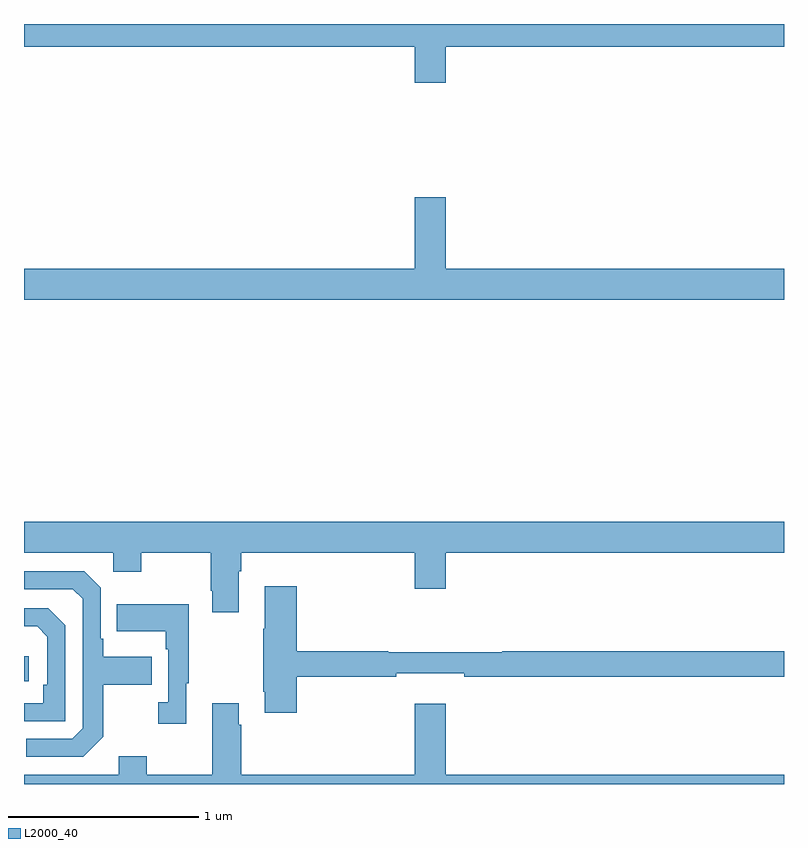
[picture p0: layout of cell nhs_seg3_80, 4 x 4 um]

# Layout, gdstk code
import gdstk
lib = gdstk.Library(unit=1e-6, precision=1e-09)
def R(c, l, rs):  # rectangles x0, y0, x1, y1
    for r in rs: c.add(gdstk.rectangle(r[:2], r[2:], *l))
def P(c, l, *ps):  # polygons
    for p in ps: c.add(gdstk.Polygon(p, *l))
L2000_40 = (2000, 40)

nhs_seg3_80 = lib.new_cell('nhs_seg3_80')
R(nhs_seg3_80, L2000_40, [(115,666.942,115.024,667.072)])
P(nhs_seg3_80, L2000_40, [(117.22,670.28),(119,670.28),(119,670.4),(115,670.4),(115,670.28),(117.056,670.28),(117.056,670.092),(117.22,670.092)],
  [(119,669.112),(117.22,669.112),(117.22,669.487),(117.056,669.487),(117.056,669.112),(115,669.112),(115,668.948),(119,668.948)],
  [(116.131,667.52),(116.144,667.52),(116.144,667.616),(117.056,667.616),(117.056,667.428),(117.22,667.428),(117.22,667.616),(119,667.616),(119,667.78),(115,667.78),(115,667.616),(115.47,667.616),(115.47,667.517),(115.617,667.517),(115.617,667.616),(115.984,667.616),(115.984,667.417),(115.991,667.417),(115.991,667.305),(116.131,667.305)],
  [(115.417,666.649),(115.417,666.922),(115.673,666.922),(115.673,667.069),(115.417,667.069),(115.417,667.165),(115.404,667.165),(115.404,667.434),(115.317,667.521),(115,667.521),(115,667.425),(115.257,667.425),(115.308,667.374),(115.308,666.693),(115.254,666.639),(115.011,666.639),(115.011,666.543),(115.311,666.543)],
  [(116.435,666.964),(116.96,666.964),(116.96,666.983),(117.316,666.983),(117.316,666.964),(119,666.964),(119,667.1),(117.518,667.1),(117.518,667.093),(116.918,667.093),(116.918,667.1),(116.435,667.1),(116.435,667.441),(116.267,667.441),(116.267,667.217),(116.26,667.217),(116.26,666.886),(116.267,666.886),(116.267,666.774),(116.435,666.774)],
  [(115.855,666.929),(115.867,666.929),(115.867,667.345),(115.489,667.345),(115.489,667.205),(115.746,667.205),(115.746,667.109),(115.758,667.109),(115.758,666.83),(115.707,666.83),(115.707,666.717),(115.855,666.717)],
  [(115.218,667.236),(115.128,667.326),(115,667.326),(115,667.229),(115.069,667.229),(115.122,667.176),(115.122,666.922),(115.102,666.922),(115.102,666.825),(115,666.825),(115,666.729),(115.218,666.729)],
  [(119,666.448),(117.22,666.448),(117.22,666.823),(117.056,666.823),(117.056,666.448),(116.144,666.448),(116.144,666.713),(116.131,666.713),(116.131,666.826),(115.991,666.826),(115.991,666.448),(115.647,666.448),(115.647,666.547),(115.499,666.547),(115.499,666.448),(115,666.448),(115,666.4),(119,666.4)])

lib.write_gds('nhs_seg3_80.gds')
